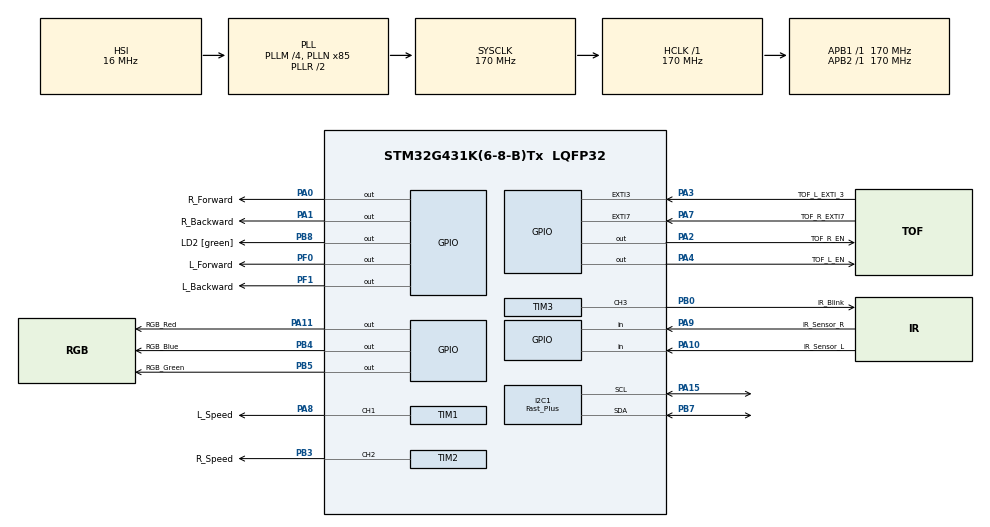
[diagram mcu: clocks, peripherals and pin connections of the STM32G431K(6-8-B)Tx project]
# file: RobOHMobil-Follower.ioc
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I2C1.I2C_Speed_Mode=I2C_Fast_Plus
I2C1.Timing=0x4052060F
Mcu.Family=STM32G4
Mcu.Name=STM32G431K(6-8-B)Tx
Mcu.Package=LQFP32
NVIC.EXTI3_IRQn=true\:0\:0\:false\:false\:true\:true\:true\:true
NVIC.EXTI9_5_IRQn=true\:0\:0\:false\:false\:true\:true\:true\:true
NVIC.PriorityGroup=NVIC_PRIORITYGROUP_4
PA0.GPIO_Label=R_Forward 
PA0.Signal=GPIO_Output
PA1.GPIO_Label=R_Backward 
PA1.Signal=GPIO_Output
PA10.GPIO_Label=IR_Sensor_L
PA10.Signal=GPIO_Input
PA11.GPIO_Label=RGB_Red
PA11.Signal=GPIO_Output
PA15.GPIO_Pu=GPIO_PULLUP
PA15.Mode=I2C
PA15.Signal=I2C1_SCL
PA2.GPIO_Label=TOF_R_EN 
PA2.Signal=GPIO_Output
PA3.GPIO_Label=TOF_L_EXTI_3
PA3.Signal=GPXTI3
PA4.GPIO_Label=TOF_L_EN 
PA4.Signal=GPIO_Output
PA7.GPIO_Label=TOF_R_EXTI7
PA7.Signal=GPXTI7
PA8.GPIO_Label=L_Speed 
PA8.Signal=S_TIM1_CH1
PA9.GPIO_Label=IR_Sensor_R 
PA9.Signal=GPIO_Input
PB0.GPIO_Label=IR_Blink
PB0.Signal=S_TIM3_CH3
PB3.GPIO_Label=R_Speed 
PB3.Signal=S_TIM2_CH2
PB4.GPIO_Label=RGB_Blue
PB4.Signal=GPIO_Output
PB5.GPIO_Label=RGB_Green 
PB5.Signal=GPIO_Output
PB7.GPIO_FM7=SYSCFG_FASTMODEPLUS_PB7
PB7.GPIO_Pu=GPIO_PULLUP
PB7.Mode=I2C
PB7.Signal=I2C1_SDA
PB8-BOOT0.GPIO_Label=LD2 [green]
PB8-BOOT0.Signal=GPIO_Output
PF0-OSC_IN.GPIO_Label=L_Forward 
PF0-OSC_IN.Signal=GPIO_Output
PF1-OSC_OUT.GPIO_Label=L_Backward 
PF1-OSC_OUT.Signal=GPIO_Output
ProjectManager.HeapSize=0x200
ProjectManager.StackSize=0x400
ProjectManager.TargetToolchain=STM32CubeIDE
RCC.ADC12Freq_Value=170000000
RCC.AHBFreq_Value=170000000
RCC.APB1Freq_Value=170000000
RCC.APB1TimFreq_Value=170000000
RCC.APB2Freq_Value=170000000
RCC.APB2TimFreq_Value=170000000
RCC.CortexFreq_Value=170000000
RCC.EXTERNAL_CLOCK_VALUE=12288000
RCC.HCLKFreq_Value=170000000
RCC.HSE_VALUE=8000000
RCC.HSI48_VALUE=48000000
RCC.HSI_VALUE=16000000
RCC.LSE_VALUE=32768
RCC.PLLM=RCC_PLLM_DIV4
RCC.PLLN=85
RCC.SYSCLKFreq_VALUE=170000000
RCC.SYSCLKSource=RCC_SYSCLKSOURCE_PLLCLK
RCC.USBFreq_Value=170000000
RCC.VCOOutputFreq_Value=340000000
SH.S_TIM1_CH1.0=TIM1_CH1,PWM Generation1 CH1
SH.S_TIM2_CH2.0=TIM2_CH2,PWM Generation2 CH2
SH.S_TIM3_CH3.0=TIM3_CH3,PWM Generation3 CH3
TIM1.AutoReloadPreload=TIM_AUTORELOAD_PRELOAD_ENABLE
TIM1.Channel-PWM\ Generation1\ CH1=TIM_CHANNEL_1
TIM1.PeriodNoDither=10000
TIM2.AutoReloadPreload=TIM_AUTORELOAD_PRELOAD_ENABLE
TIM2.Channel-PWM\ Generation2\ CH2=TIM_CHANNEL_2
TIM2.PeriodNoDither=10000
TIM3.Channel-PWM\ Generation3\ CH3=TIM_CHANNEL_3
TIM3.PeriodNoDither=4473
TIM3.PulseNoDither_3=2237
VP_SYS_VS_DBSignals.Mode=DisableDeadBatterySignals
VP_TIM1_VS_ClockSourceINT.Mode=Internal
VP_TIM2_VS_ClockSourceINT.Mode=Internal
board=NUCLEO-G431KB

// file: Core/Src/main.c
/* USER CODE BEGIN Header */
/**
  ******************************************************************************
  * @file           : main.c
  * @brief          : Main program body
  ******************************************************************************
  * @attention
  *
  * Copyright (c) 2025 STMicroelectronics.
  * All rights reserved.
  *
  * This software is licensed under terms that can be found in the LICENSE file
  * in the root directory of this software component.
  * If no LICENSE file comes with this software, it is provided AS-IS.
  *
  ******************************************************************************
  */
/* USER CODE END Header */
#include "main.h"

/* USER CODE BEGIN Includes */
#include "VL53L4CD_api.h"

/* USER CODE END Includes */

/* USER CODE BEGIN PD */
#define CLAMP(x, min, max) ((x) < (min) ? (min) : ((x) > (max) ? (max) : (x)))
/* USER CODE END PD */

I2C_HandleTypeDef hi2c1;

TIM_HandleTypeDef htim1;
TIM_HandleTypeDef htim2;
TIM_HandleTypeDef htim3;

/* USER CODE BEGIN PV */
int IR_Sensor_R;						// Rechter IR sieht IR-Beacon
int IR_Sensor_L;						// Linker IR sieht IR-Beacon

// TOF Sensor init Variablen
Dev_t TOF_R   = 0x54;   	// Neue Adresse für R
Dev_t TOF_L   = 0x58;  		// Neue Adresse für L

int16_t CalibrateOffset_R;
int16_t CalibrateOffset_L;
int16_t CalibratedOffset_R;
int16_t CalibratedOffset_L;

//TOF sensor Daten
VL53L4CD_ResultsData_t result_R;
VL53L4CD_ResultsData_t result_L;
int16_t Range_R;
int16_t Range_L;

int TOF_R_Valid = 0;
int TOF_L_Valid = 0;
int TOF_R_Data_Old = 0;
int TOF_L_Data_Old = 0;
int TOF_R_Error_Count = 0;
int TOF_L_Error_Count = 0;

//Drive Follow Variablen
int16_t R_Speed = 0;
int16_t L_Speed = 0;
int16_t Range_Reference = 100;
static int integral = 0;
static int IR_lost_counter = 0;
static int folgen_aktiv = 0;

/* USER CODE END PV */

void SystemClock_Config(void);
static void MX_GPIO_Init(void);
static void MX_I2C1_Init(void);
static void MX_TIM3_Init(void);
static void MX_TIM1_Init(void);
static void MX_TIM2_Init(void);
/* USER CODE BEGIN PFP */
//INIT
void Custom_GPIO_Init();
static void VL53L4CD_Init(void);

//READ
static void Read_TOF(void);
static int Read_IR_Sensor(void);

//WRITE
static void Drive_Follow(void);
static void Drive_Turn_Right(void);
static void Drive_Turn_Left(void);
static void Drive_Stop(void);
static void Set_Speed_L(int speed);
static void Set_Speed_R(int speed);
static void Set_RGB(int R, int G, int B);

//CALCULATE
int calc_speed_to_pwm(int s);
static int Check_Valid_Range(void);

//TEST
void VL53L4CD_I2C_Test(void);
/* USER CODE END PFP */

int main(void)
{

  /* MCU Configuration--------------------------------------------------------*/

  /* Reset of all peripherals, Initializes the Flash interface and the Systick. */
  HAL_Init();

  /* Configure the system clock */
  SystemClock_Config();

  /* Initialize all configured peripherals */
  MX_GPIO_Init();
  MX_I2C1_Init();
  MX_TIM3_Init();
  MX_TIM1_Init();
  MX_TIM2_Init();
  /* USER CODE BEGIN 2 */

  VL53L4CD_Init();
  HAL_TIM_PWM_Start(&htim1, TIM_CHANNEL_1);
  HAL_TIM_PWM_Start(&htim2, TIM_CHANNEL_2);
  HAL_TIM_PWM_Start(&htim3, TIM_CHANNEL_3);

  /* USER CODE END 2 */

  /* Infinite loop */
  /* USER CODE BEGIN WHILE */
  while (1)
  {

	  Read_TOF();
	  Check_Valid_Range();

	  if (Read_IR_Sensor() || folgen_aktiv) {		// Wenn Beide erkennen, fahren

		  integral = 0;
		  L_Speed = 0;
		  R_Speed = 0;
		  folgen_aktiv = 1;
		  Drive_Stop();

		  while(folgen_aktiv) {

 			  Read_TOF();
 			  Read_IR_Sensor();
 			  Drive_Follow();
 			  if(!IR_Sensor_L && !IR_Sensor_R)
 				  IR_lost_counter++;
 			  else
 				  IR_lost_counter = 0;

 			  if(IR_lost_counter > 3)				//Folgen Aktiv existiert nur um kurze Fehlsignale rauszufiltern
 				  folgen_aktiv = 0;
		  }

	  } else if (IR_Sensor_L) {
		  // Links drehen
		  Drive_Turn_Left();
		  Set_RGB(0, 1, 1); 		// Cyan für Teil IR erkennung
	  } else if (IR_Sensor_R) {
		  // Rechts drehen
		  Drive_Turn_Right();
		  Set_RGB(0, 1, 1); 		// Cyan für Teil IR erkennung
	  } else {
		  // Rechts Drehen + Blau  -> Suchen
		  Drive_Turn_Right();
		  Set_RGB(0, 0, 1);			// Blaue LED => Sucht nach IR signal
	  }

    /* USER CODE END WHILE */

  }
}

void SystemClock_Config(void)
{
  RCC_OscInitTypeDef RCC_OscInitStruct = {0};
  RCC_ClkInitTypeDef RCC_ClkInitStruct = {0};

  /** Configure the main internal regulator output voltage
  */
  HAL_PWREx_ControlVoltageScaling(PWR_REGULATOR_VOLTAGE_SCALE1_BOOST);

  /** Initializes the RCC Oscillators according to the specified parameters
  * in the RCC_OscInitTypeDef structure.
  */
  RCC_OscInitStruct.OscillatorType = RCC_OSCILLATORTYPE_HSI;
  RCC_OscInitStruct.HSIState = RCC_HSI_ON;
  RCC_OscInitStruct.HSICalibrationValue = RCC_HSICALIBRATION_DEFAULT;
  RCC_OscInitStruct.PLL.PLLState = RCC_PLL_ON;
  RCC_OscInitStruct.PLL.PLLSource = RCC_PLLSOURCE_HSI;
  RCC_OscInitStruct.PLL.PLLM = RCC_PLLM_DIV4;
  RCC_OscInitStruct.PLL.PLLN = 85;
  RCC_OscInitStruct.PLL.PLLP = RCC_PLLP_DIV2;
  RCC_OscInitStruct.PLL.PLLQ = RCC_PLLQ_DIV2;
  RCC_OscInitStruct.PLL.PLLR = RCC_PLLR_DIV2;
  if (HAL_RCC_OscConfig(&RCC_OscInitStruct) != HAL_OK)
  {
    Error_Handler();
  }

  /** Initializes the CPU, AHB and APB buses clocks
  */
  RCC_ClkInitStruct.ClockType = RCC_CLOCKTYPE_HCLK|RCC_CLOCKTYPE_SYSCLK
                              |RCC_CLOCKTYPE_PCLK1|RCC_CLOCKTYPE_PCLK2;
  RCC_ClkInitStruct.SYSCLKSource = RCC_SYSCLKSOURCE_PLLCLK;
  RCC_ClkInitStruct.AHBCLKDivider = RCC_SYSCLK_DIV1;
  RCC_ClkInitStruct.APB1CLKDivider = RCC_HCLK_DIV1;
  RCC_ClkInitStruct.APB2CLKDivider = RCC_HCLK_DIV1;

  if (HAL_RCC_ClockConfig(&RCC_ClkInitStruct, FLASH_LATENCY_4) != HAL_OK)
  {
    Error_Handler();
  }
}

static void MX_I2C1_Init(void)
{

  hi2c1.Instance = I2C1;
  hi2c1.Init.Timing = 0x4052060F;
  hi2c1.Init.OwnAddress1 = 0;
  hi2c1.Init.AddressingMode = I2C_ADDRESSINGMODE_7BIT;
  hi2c1.Init.DualAddressMode = I2C_DUALADDRESS_DISABLE;
  hi2c1.Init.OwnAddress2 = 0;
  hi2c1.Init.OwnAddress2Masks = I2C_OA2_NOMASK;
  hi2c1.Init.GeneralCallMode = I2C_GENERALCALL_DISABLE;
  hi2c1.Init.NoStretchMode = I2C_NOSTRETCH_DISABLE;
  if (HAL_I2C_Init(&hi2c1) != HAL_OK)
  {
    Error_Handler();
  }

  /** Configure Analogue filter
  */
  if (HAL_I2CEx_ConfigAnalogFilter(&hi2c1, I2C_ANALOGFILTER_ENABLE) != HAL_OK)
  {
    Error_Handler();
  }

  /** Configure Digital filter
  */
  if (HAL_I2CEx_ConfigDigitalFilter(&hi2c1, 0) != HAL_OK)
  {
    Error_Handler();
  }

  /** I2C Fast mode Plus enable
  */
  HAL_I2CEx_EnableFastModePlus(I2C_FASTMODEPLUS_I2C1);

}

static void MX_TIM1_Init(void)
{

  TIM_ClockConfigTypeDef sClockSourceConfig = {0};
  TIM_MasterConfigTypeDef sMasterConfig = {0};
  TIM_OC_InitTypeDef sConfigOC = {0};
  TIM_BreakDeadTimeConfigTypeDef sBreakDeadTimeConfig = {0};

  /* USER CODE BEGIN TIM1_Init 1 */
  	  	  	  	  	  	  	  	  	  	  	  	  //ARR 10000 -> ca. 17kHz Freq + guter wert für CCR =>> CCR = 0 -> no speed; CCR = 10000 -> max speed
  /* USER CODE END TIM1_Init 1 */
  htim1.Instance = TIM1;
  htim1.Init.Prescaler = 0;
  htim1.Init.CounterMode = TIM_COUNTERMODE_UP;
  htim1.Init.Period = 10000;
  htim1.Init.ClockDivision = TIM_CLOCKDIVISION_DIV1;
  htim1.Init.RepetitionCounter = 0;
  htim1.Init.AutoReloadPreload = TIM_AUTORELOAD_PRELOAD_ENABLE;
  if (HAL_TIM_Base_Init(&htim1) != HAL_OK)
  {
    Error_Handler();
  }
  sClockSourceConfig.ClockSource = TIM_CLOCKSOURCE_INTERNAL;
  if (HAL_TIM_ConfigClockSource(&htim1, &sClockSourceConfig) != HAL_OK)
  {
    Error_Handler();
  }
  if (HAL_TIM_PWM_Init(&htim1) != HAL_OK)
  {
    Error_Handler();
  }
  sMasterConfig.MasterOutputTrigger = TIM_TRGO_RESET;
  sMasterConfig.MasterOutputTrigger2 = TIM_TRGO2_RESET;
  sMasterConfig.MasterSlaveMode = TIM_MASTERSLAVEMODE_DISABLE;
  if (HAL_TIMEx_MasterConfigSynchronization(&htim1, &sMasterConfig) != HAL_OK)
  {
    Error_Handler();
  }
  sConfigOC.OCMode = TIM_OCMODE_PWM1;
  sConfigOC.Pulse = 0;
  sConfigOC.OCPolarity = TIM_OCPOLARITY_HIGH;
  sConfigOC.OCNPolarity = TIM_OCNPOLARITY_HIGH;
  sConfigOC.OCFastMode = TIM_OCFAST_DISABLE;
  sConfigOC.OCIdleState = TIM_OCIDLESTATE_RESET;
  sConfigOC.OCNIdleState = TIM_OCNIDLESTATE_RESET;
  if (HAL_TIM_PWM_ConfigChannel(&htim1, &sConfigOC, TIM_CHANNEL_1) != HAL_OK)
  {
    Error_Handler();
  }
  sBreakDeadTimeConfig.OffStateRunMode = TIM_OSSR_DISABLE;
  sBreakDeadTimeConfig.OffStateIDLEMode = TIM_OSSI_DISABLE;
  sBreakDeadTimeConfig.LockLevel = TIM_LOCKLEVEL_OFF;
  sBreakDeadTimeConfig.DeadTime = 0;
  sBreakDeadTimeConfig.BreakState = TIM_BREAK_DISABLE;
  sBreakDeadTimeConfig.BreakPolarity = TIM_BREAKPOLARITY_HIGH;
  sBreakDeadTimeConfig.BreakFilter = 0;
  sBreakDeadTimeConfig.BreakAFMode = TIM_BREAK_AFMODE_INPUT;
  sBreakDeadTimeConfig.Break2State = TIM_BREAK2_DISABLE;
  sBreakDeadTimeConfig.Break2Polarity = TIM_BREAK2POLARITY_HIGH;
  sBreakDeadTimeConfig.Break2Filter = 0;
  sBreakDeadTimeConfig.Break2AFMode = TIM_BREAK_AFMODE_INPUT;
  sBreakDeadTimeConfig.AutomaticOutput = TIM_AUTOMATICOUTPUT_DISABLE;
  if (HAL_TIMEx_ConfigBreakDeadTime(&htim1, &sBreakDeadTimeConfig) != HAL_OK)
  {
    Error_Handler();
  }
  HAL_TIM_MspPostInit(&htim1);

}

static void MX_TIM2_Init(void)
{

  TIM_ClockConfigTypeDef sClockSourceConfig = {0};
  TIM_MasterConfigTypeDef sMasterConfig = {0};
  TIM_OC_InitTypeDef sConfigOC = {0};

  /* USER CODE BEGIN TIM2_Init 1 */
  	  	  	  	  	  	  	  	  	  	  	  	  //ARR 10000 -> ca. 17kHz Freq + guter wert für CCR =>> CCR = 0 -> no speed; CCR = 10000 -> max speed
  /* USER CODE END TIM2_Init 1 */
  htim2.Instance = TIM2;
  htim2.Init.Prescaler = 0;
  htim2.Init.CounterMode = TIM_COUNTERMODE_UP;
  htim2.Init.Period = 10000;
  htim2.Init.ClockDivision = TIM_CLOCKDIVISION_DIV1;
  htim2.Init.AutoReloadPreload = TIM_AUTORELOAD_PRELOAD_ENABLE;
  if (HAL_TIM_Base_Init(&htim2) != HAL_OK)
  {
    Error_Handler();
  }
  sClockSourceConfig.ClockSource = TIM_CLOCKSOURCE_INTERNAL;
  if (HAL_TIM_ConfigClockSource(&htim2, &sClockSourceConfig) != HAL_OK)
  {
    Error_Handler();
  }
  if (HAL_TIM_PWM_Init(&htim2) != HAL_OK)
  {
    Error_Handler();
  }
  sMasterConfig.MasterOutputTrigger = TIM_TRGO_RESET;
  sMasterConfig.MasterSlaveMode = TIM_MASTERSLAVEMODE_DISABLE;
  if (HAL_TIMEx_MasterConfigSynchronization(&htim2, &sMasterConfig) != HAL_OK)
  {
    Error_Handler();
  }
  sConfigOC.OCMode = TIM_OCMODE_PWM1;
  sConfigOC.Pulse = 0;
  sConfigOC.OCPolarity = TIM_OCPOLARITY_HIGH;
  sConfigOC.OCFastMode = TIM_OCFAST_DISABLE;
  if (HAL_TIM_PWM_ConfigChannel(&htim2, &sConfigOC, TIM_CHANNEL_2) != HAL_OK)
  {
    Error_Handler();
  }
  HAL_TIM_MspPostInit(&htim2);

}

static void MX_TIM3_Init(void)
{

  TIM_MasterConfigTypeDef sMasterConfig = {0};
  TIM_OC_InitTypeDef sConfigOC = {0};

  htim3.Instance = TIM3;
  htim3.Init.Prescaler = 0;
  htim3.Init.CounterMode = TIM_COUNTERMODE_UP;
  htim3.Init.Period = 4473;
  htim3.Init.ClockDivision = TIM_CLOCKDIVISION_DIV1;
  htim3.Init.AutoReloadPreload = TIM_AUTORELOAD_PRELOAD_DISABLE;
  if (HAL_TIM_PWM_Init(&htim3) != HAL_OK)
  {
    Error_Handler();
  }
  sMasterConfig.MasterOutputTrigger = TIM_TRGO_RESET;
  sMasterConfig.MasterSlaveMode = TIM_MASTERSLAVEMODE_DISABLE;
  if (HAL_TIMEx_MasterConfigSynchronization(&htim3, &sMasterConfig) != HAL_OK)
  {
    Error_Handler();
  }
  sConfigOC.OCMode = TIM_OCMODE_PWM1;
  sConfigOC.Pulse = 2237;
  sConfigOC.OCPolarity = TIM_OCPOLARITY_HIGH;
  sConfigOC.OCFastMode = TIM_OCFAST_DISABLE;
  if (HAL_TIM_PWM_ConfigChannel(&htim3, &sConfigOC, TIM_CHANNEL_3) != HAL_OK)
  {
    Error_Handler();
  }
  HAL_TIM_MspPostInit(&htim3);

}

static void MX_GPIO_Init(void)
{
  GPIO_InitTypeDef GPIO_InitStruct = {0};

  /* GPIO Ports Clock Enable */
  __HAL_RCC_GPIOF_CLK_ENABLE();
  __HAL_RCC_GPIOA_CLK_ENABLE();
  __HAL_RCC_GPIOB_CLK_ENABLE();

  /*Configure GPIO pin Output Level */
  HAL_GPIO_WritePin(GPIOF, L_Forward_Pin|L_Backward_Pin, GPIO_PIN_RESET);

  /*Configure GPIO pin Output Level */
  HAL_GPIO_WritePin(GPIOA, R_Forward_Pin|R_Backward_Pin|TOF_R_EN_Pin|TOF_L_EN_Pin
                          |RGB_Red_Pin, GPIO_PIN_RESET);

  /*Configure GPIO pin Output Level */
  HAL_GPIO_WritePin(GPIOB, RGB_Blue_Pin|RGB_Green_Pin|LD2_Pin, GPIO_PIN_RESET);

  /*Configure GPIO pins : L_Forward_Pin L_Backward_Pin */
  GPIO_InitStruct.Pin = L_Forward_Pin|L_Backward_Pin;
  GPIO_InitStruct.Mode = GPIO_MODE_OUTPUT_PP;
  GPIO_InitStruct.Pull = GPIO_NOPULL;
  GPIO_InitStruct.Speed = GPIO_SPEED_FREQ_LOW;
  HAL_GPIO_Init(GPIOF, &GPIO_InitStruct);

  /*Configure GPIO pins : R_Forward_Pin R_Backward_Pin TOF_R_EN_Pin TOF_L_EN_Pin
                           RGB_Red_Pin */
  GPIO_InitStruct.Pin = R_Forward_Pin|R_Backward_Pin|TOF_R_EN_Pin|TOF_L_EN_Pin
                          |RGB_Red_Pin;
  GPIO_InitStruct.Mode = GPIO_MODE_OUTPUT_PP;
  GPIO_InitStruct.Pull = GPIO_NOPULL;
  GPIO_InitStruct.Speed = GPIO_SPEED_FREQ_LOW;
  HAL_GPIO_Init(GPIOA, &GPIO_InitStruct);

  /*Configure GPIO pins : TOF_L_EXTI_3_Pin TOF_R_EXTI7_Pin */
  GPIO_InitStruct.Pin = TOF_L_EXTI_3_Pin|TOF_R_EXTI7_Pin;
  GPIO_InitStruct.Mode = GPIO_MODE_IT_RISING;
  GPIO_InitStruct.Pull = GPIO_NOPULL;
  HAL_GPIO_Init(GPIOA, &GPIO_InitStruct);

  /*Configure GPIO pins : IR_Sensor_R_Pin IR_Sensor_L_Pin */
  GPIO_InitStruct.Pin = IR_Sensor_R_Pin|IR_Sensor_L_Pin;
  GPIO_InitStruct.Mode = GPIO_MODE_INPUT;
  GPIO_InitStruct.Pull = GPIO_NOPULL;
  HAL_GPIO_Init(GPIOA, &GPIO_InitStruct);

  /*Configure GPIO pins : RGB_Blue_Pin RGB_Green_Pin LD2_Pin */
  GPIO_InitStruct.Pin = RGB_Blue_Pin|RGB_Green_Pin|LD2_Pin;
  GPIO_InitStruct.Mode = GPIO_MODE_OUTPUT_PP;
  GPIO_InitStruct.Pull = GPIO_NOPULL;
  GPIO_InitStruct.Speed = GPIO_SPEED_FREQ_LOW;
  HAL_GPIO_Init(GPIOB, &GPIO_InitStruct);

  /* EXTI interrupt init*/
  HAL_NVIC_SetPriority(EXTI3_IRQn, 0, 0);
  HAL_NVIC_EnableIRQ(EXTI3_IRQn);

  HAL_NVIC_SetPriority(EXTI9_5_IRQn, 0, 0);
  HAL_NVIC_EnableIRQ(EXTI9_5_IRQn);

}

/* USER CODE BEGIN 4 */

//------------------------------------------------------------------------------------
//		USER INIT
//------------------------------------------------------------------------------------

void Custom_GPIO_Init()
{
	//Fehlerbehebung
	GPIOA->MODER &= ~(0x03 << 4); 	//Reset GPIOA_MODE2
	GPIOA->MODER |= (0x01 << 4); 	//Set GPIOA_MODE2
	GPIOA->MODER &= ~(0x03 << 8); 	//Reset GPIOA_MODE4
	GPIOA->MODER |= (0x01 << 8);	//Set GPIOA_MODE4 to output mode
}

static void VL53L4CD_Init(void) {

	HAL_GPIO_WritePin(GPIOA, TOF_R_EN_Pin | TOF_L_EN_Pin, GPIO_PIN_RESET);
	HAL_Delay(10);

	Dev_t default_addr = 0x52;   	// Default

	// INIT TOF_R
	HAL_GPIO_WritePin(GPIOA, TOF_R_EN_Pin, GPIO_PIN_SET);
	HAL_Delay(10);

	if (VL53L4CD_SetI2CAddress(default_addr, TOF_R) != 0) {
		Error_Handler();
	}
	HAL_Delay(10);

	if (VL53L4CD_SensorInit(TOF_R) != 0) {
        Error_Handler();
    }

	// INIT TOF_L
	HAL_Delay(10);
	HAL_GPIO_WritePin(GPIOA, TOF_L_EN_Pin, GPIO_PIN_SET);

	HAL_Delay(10);

	if (VL53L4CD_SetI2CAddress(default_addr, TOF_L) != 0) {
        Error_Handler();
    }
	HAL_Delay(10);

	if (VL53L4CD_SensorInit(TOF_L) != 0) {
        Error_Handler();
    }

	HAL_GPIO_WritePin(GPIOA, TOF_R_EN_Pin, GPIO_PIN_SET);
	HAL_Delay(10);

	//Nur bei Anfangs Kalibrierung

	//Wird nur benötigt wenn neue Sensoren angeschlossen werden
/*
	VL53L4CD_CalibrateOffset(TOF_R, 100, &CalibrateOffset_R, 20);
	VL53L4CD_CalibrateOffset(TOF_L, 100, &CalibrateOffset_L, 20);
	VL53L4CD_GetOffset(TOF_R, &CalibratedOffset_R);
	VL53L4CD_GetOffset(TOF_L, &CalibratedOffset_L);
*/

	VL53L4CD_SetOffset(TOF_R, -10);		// Wert eingeben je nach Sensor, ist beschriftet aus Sensoren und Fahrzeugunterseite
	VL53L4CD_SetOffset(TOF_L, -20);
	VL53L4CD_StartRanging(TOF_R);
	VL53L4CD_StartRanging(TOF_L);
}

//------------------------------------------------------------------------------------
//		USER TEST
//------------------------------------------------------------------------------------

void VL53L4CD_I2C_Test(void)
// Nur für Debug der TOF sensoren benötigt
{
    uint8_t id = 0;
    HAL_StatusTypeDef ret;

    // XSHUT sicher aktivieren
    HAL_GPIO_WritePin(GPIOA, TOF_R_EN_Pin, GPIO_PIN_RESET);
    HAL_GPIO_WritePin(GPIOA, TOF_L_EN_Pin, GPIO_PIN_SET);
    HAL_Delay(10);

    if (VL53L4CD_SetI2CAddress(0x52, TOF_L) != 0) {
            Error_Handler();
        }
    // Lese Model-ID-Register (0x010F)
    ret = HAL_I2C_Mem_Read(&hi2c1,
    					   TOF_L,          // Default-Adresse (0x29 << 1)
                           0x010F,
                           I2C_MEMADD_SIZE_16BIT,
                           &id, 1, 100);

    if (ret == HAL_OK)
    {
        // Sensor antwortet -> I2C OK
        HAL_GPIO_WritePin(GPIOB, LD2_Pin, GPIO_PIN_SET); // z.B. LED an
    }
    else
    {
        // Kein ACK -> Hardware / Adresse / XSHUT / Pull-Ups
        HAL_GPIO_WritePin(GPIOB, LD2_Pin, GPIO_PIN_RESET); // LED aus
        Error_Handler(); // oder Breakpoint setzen
    }
}

//------------------------------------------------------------------------------------
//		USER READ
//------------------------------------------------------------------------------------

static int Read_IR_Sensor(void)
// Liest die IR_Sensoren auf Variablen ein,  returned 1 wenn beide etwas erkennen
// Filtert Kurze Störimpulse Raus,

{

	int Temp_R_1 = !HAL_GPIO_ReadPin(GPIOA, IR_Sensor_R_Pin);
	int Temp_L_1 = !HAL_GPIO_ReadPin(GPIOA, IR_Sensor_L_Pin);

	HAL_Delay(30);

	int Temp_R_2 = !HAL_GPIO_ReadPin(GPIOA, IR_Sensor_R_Pin);
	int Temp_L_2 = !HAL_GPIO_ReadPin(GPIOA, IR_Sensor_L_Pin);

	IR_Sensor_R = Temp_R_2 & Temp_R_1;
	IR_Sensor_L = Temp_L_2 & Temp_L_1;

	return (IR_Sensor_R && IR_Sensor_L);
}

static void Read_TOF(void)
// Liest die TOF-Sensor Daten ein (Polling) Immer beide gleichzeitig
// Filtert dann Ergebnisse Raus (Wenn zu große Distanz oder Fehlercode)
// Trackt wie viele Zyklen lang die Daten nicht aktualisiert wurden
{
	uint8_t dataReady_R = 0;
	uint8_t dataReady_L = 0;

	if (VL53L4CD_CheckForDataReady(TOF_R, &dataReady_R) != 0) {
		Error_Handler();
	}

	if (VL53L4CD_CheckForDataReady(TOF_L, &dataReady_L) != 0) {
		Error_Handler();
	}

	if (dataReady_R && dataReady_L)
	{

		if (VL53L4CD_GetResult(TOF_R, &result_R) != 0) {
			Error_Handler();
		}

		if (VL53L4CD_ClearInterrupt(TOF_R) != 0) {
			Error_Handler();
		}

		if(result_R.range_status == 0) {

			if (result_R.distance_mm < 1000) {

				if(Range_R == 0) {
					Range_R = result_R.distance_mm;
				} else {
					// Filtern durch Verringern von Einfluss neuer Messergebnisse
					Range_R = (Range_R * 3 + result_R.distance_mm) /4;
				}

				TOF_R_Data_Old = 0;			// Merker, wenn Daten nicht erneuert werden
			} else {
				TOF_R_Data_Old++;
			}

			TOF_R_Error_Count = 0;
		} else {
			TOF_R_Error_Count++;
		}

 	 	if (VL53L4CD_GetResult(TOF_L, &result_L) != 0) {
			Error_Handler();
		}

 	 	if (VL53L4CD_ClearInterrupt(TOF_L) != 0) {
			Error_Handler();
		}

 	 	if(result_L.range_status == 0) {
 	 		if (result_L.distance_mm < 1000) {

 	 			if(Range_L == 0) {
 	 				Range_L = result_L.distance_mm;
 	 			} else {
 	 				// Filtern durch Verringern von Einfluss neuer Messergebnisse
 	 				Range_L = (Range_L * 3 + result_L.distance_mm) / 4;
 	 			}

 	 			TOF_L_Data_Old = 0;			// Merker, wenn Daten nicht erneuert werden
 	 		} else {
 	 			TOF_L_Data_Old++;
 	 		}

 	 		TOF_L_Error_Count = 0;
 	 	} else {
 	 		TOF_L_Error_Count++;
 	 	}

 	 	// Neustart der Auslese anforderung
		if (VL53L4CD_StartRanging(TOF_R) != 0) {
			Error_Handler();
		}

		if (VL53L4CD_StartRanging(TOF_L) != 0) {
			Error_Handler();
		}

	}

}

//------------------------------------------------------------------------------------
//		USER WRITE
//------------------------------------------------------------------------------------

static void Drive_Follow(void)
// Hauptlogik, wird ausgeführt sobald die IR sensoren das Fahrzeug gefunden haben
// PI-Regler für die Geschwindigkeit, Turn gibt die Drehung an die das Fahrzeug bei Kurven fährt

{
	float Ki = 0.2;
	float Kp = 3.5;
	float Kt = 5.0;

	int turn = 0;		//Drehung
	int error = 0;		//Unterschied zur Soll-Distanz
	int speed = 0;

	// Wenn beide TOF sensoren erkenne greift die Reguläre Steuerung
	if(Check_Valid_Range()) {
		Set_RGB(0, 1, 0);
		int distance = (Range_L + Range_R) / 2;

		error = distance - Range_Reference;

		integral += error;

		if(integral > 4000) integral = 4000;
		if(integral < -4000) integral = -4000;

		speed = Kp * error + Ki * integral;

		// Feinausrichtung durch ToF
		turn += (Range_R - Range_L) / 2;

		// Maximal Differenz zwischen R und L ist ca. 130mm (Berechnung aus Breite Fahrzeug und Abstand TOF sensoren)
		// ==> Wir lassen maximal 140mm zu (Toleranz Messfehler) um sicherzustellen das der Turn nicht zu groß ist

		turn = CLAMP(turn, -70, 70);

		if(abs(error) < 10) {
			speed = 0;
			integral = 0;
		}

	} else if(TOF_R_Valid) {
		//Wenn nur der Rechte Sensor ein Ergebnis Liefert, nehmen wir zur Distanz und Speed Berechnung nur den Rechten Sensor und drehen konstant nach Rechts
		Set_RGB(1, 1, 0);
		int distance = Range_R;

				error = distance - Range_Reference;

				integral += error;

				if(integral > 4000) integral = 4000;
				if(integral < -4000) integral = -4000;

				speed = Kp * error + Ki * integral;

				turn = -30;

	} else if(TOF_L_Valid){
		//Wenn nur der Linke Sensor ein Ergebnis Liefert, nehmen wir zur Distanz und Speed Berechnung nur den Linken Sensor und drehen konstant nach Links
		Set_RGB(1, 1, 0);
		int distance = Range_L;

				error = distance - Range_Reference;

				integral += error;

				if(integral > 4000) integral = 4000;
				if(integral < -4000) integral = -4000;

				speed = Kp * error + Ki * integral;

				turn = 30;

	} else {
		//Drive Follow wird verlassen wenn beide IR-Sensoren 4 Zyklen lang nichts erkennen
		Set_RGB(1, 1, 0);

		if(IR_Sensor_L && IR_Sensor_R) {
			// beide erkennen → geradeaus
			// nötig wenn Check_Valid_Distance Fehler gibt, weil die Distanz zu groß ist

			speed = 1000;
			integral = 0;

		} else if(IR_Sensor_L && !IR_Sensor_R) {
			// Nachkorrektur wenn kurz nur Linker IR etwas erkennt und TOF nichts erkennt
			turn += 30;   // leicht links

		} else if(IR_Sensor_R && !IR_Sensor_L) {
			// Nachkorrektur wenn kurz nur Rechter IR etwas erkennt und TOF nichts erkennt
			turn += -30;  // leicht rechts

		}
	}

	if(abs(turn) < 5)	//Stabilität, Damit Fahrzeug bei leichten Korrekturen nicht "Zuckt"
		turn = 0;

	int L_Speed = speed - Kt * turn;
	int R_Speed = speed + Kt * turn;

	L_Speed = CLAMP(L_Speed, -4000, 4000);
	R_Speed = CLAMP(R_Speed, -4000, 4000);

	Set_Speed_L(calc_speed_to_pwm(L_Speed));
	Set_Speed_R(calc_speed_to_pwm(R_Speed));

}

static void Drive_Turn_Right(void)
// Langsames Rechts Drehen
{
	Set_Speed_L(6000);		//60% Speed
	Set_Speed_R(-6000);
}

static void Drive_Turn_Left(void)
// Langsames Links Drehen
{
	Set_Speed_L(-6000);		//60% Speed
	Set_Speed_R(6000);
}

static void Drive_Stop(void)
// Stoppen
{
	Set_Speed_L(0);
	Set_Speed_R(0);
}

static void Set_Speed_L(int speed) {
	// Funktion um Motorsteuerung Leserlicher zu machen
	// Steuerung der IN-Pins (Forward/Backward) je nach Richtung des Speeds (pos/neg)
	// Setzen des Speeds in PWM Timer CCR
	if(speed == 0) {

		HAL_GPIO_WritePin(L_Backward_GPIO_Port, L_Backward_Pin, GPIO_PIN_RESET);
		HAL_GPIO_WritePin(L_Forward_GPIO_Port , L_Forward_Pin , GPIO_PIN_RESET);

		TIM1->CCR1 = speed;

	} else if(speed <= 10000 && speed > 0) {

		HAL_GPIO_WritePin(L_Backward_GPIO_Port, L_Backward_Pin, GPIO_PIN_RESET);
		HAL_GPIO_WritePin(L_Forward_GPIO_Port , L_Forward_Pin , GPIO_PIN_SET  );

		TIM1->CCR1 = speed;

	} else if(speed >= -10000 && speed < 0) {

		HAL_GPIO_WritePin(L_Forward_GPIO_Port , L_Forward_Pin , GPIO_PIN_RESET);
		HAL_GPIO_WritePin(L_Backward_GPIO_Port, L_Backward_Pin, GPIO_PIN_SET  );

		TIM1->CCR1 = -speed;

	} else {
		Error_Handler();
	}
}

// Speed 0 - 10000
static void Set_Speed_R(int speed) {
	// Funktion um Motorsteuerung Leserlicher zu machen
	// Steuerung der IN-Pins (Forward/Backward) je nach Richtung des Speeds (pos/neg)
	// Setzen des Speeds in PWM Timer CCR
	if(speed == 0) {

			HAL_GPIO_WritePin(R_Backward_GPIO_Port, R_Backward_Pin, GPIO_PIN_RESET);
			HAL_GPIO_WritePin(R_Forward_GPIO_Port , R_Forward_Pin , GPIO_PIN_RESET);

			TIM2->CCR2 = speed;

		} else if(speed <= 10000 && speed > 0) {

			HAL_GPIO_WritePin(R_Backward_GPIO_Port, R_Backward_Pin, GPIO_PIN_RESET);
			HAL_GPIO_WritePin(R_Forward_GPIO_Port , R_Forward_Pin , GPIO_PIN_SET  );

			TIM2->CCR2 = speed;

		} else if(speed >= -10000 && speed < 0) {

			HAL_GPIO_WritePin(R_Forward_GPIO_Port , R_Forward_Pin , GPIO_PIN_RESET);
			HAL_GPIO_WritePin(R_Backward_GPIO_Port, R_Backward_Pin, GPIO_PIN_SET  );

			TIM2->CCR2 = -speed;

		} else {
			Error_Handler();
		}
}

static void Set_RGB(int R, int G, int B) {
	// Simple LED steuerung, überschreibt immer alle vorherigen LED eingaben automatisch
	// Eingabe 1 um jeweilige LED an zumachen
	// LEDs sind Low Aktiv -> 1 = Reset = Pin LOW

	if(R >= 1) {
		HAL_GPIO_WritePin(RGB_Red_GPIO_Port, RGB_Red_Pin, GPIO_PIN_RESET);
	} else {
		HAL_GPIO_WritePin(RGB_Red_GPIO_Port, RGB_Red_Pin, GPIO_PIN_SET);
	}

	if(G >= 1) {
		HAL_GPIO_WritePin(RGB_Green_GPIO_Port, RGB_Green_Pin, GPIO_PIN_RESET);
	} else {
		HAL_GPIO_WritePin(RGB_Green_GPIO_Port, RGB_Green_Pin, GPIO_PIN_SET);
	}

	if(B >= 1) {
		HAL_GPIO_WritePin(RGB_Blue_GPIO_Port, RGB_Blue_Pin, GPIO_PIN_RESET);
	} else {
		HAL_GPIO_WritePin(RGB_Blue_GPIO_Port, RGB_Blue_Pin, GPIO_PIN_SET);
	}
}

//------------------------------------------------------------------------------------
//		USER CALCULATE
//------------------------------------------------------------------------------------

int calc_speed_to_pwm(int s) {
	// Die Motoren / Treiber sind bei niedrigen PWMs (ca. <60%) zu schwach um das Fahrzeug
	// zu bewegen, deshalb regeln wir immmer zwischen 60% - 100%, um die Berechnung einfach
	// zu halten Berechnen wir in Drive_Follow nur Speed -4000 bis 4000 und skalieren ihn dann auf
	// [-10000; -6000] und [6000; 10000]
	if(s > 5)
		return s + 6000;
	else if(s < -5)
		return s - 6000;
	else
		return 0;
}

static int Check_Valid_Range(void) {
	// Prüft aktuelle Distanz angaben und Fehler von Read_TOF
	// Return 1 nur wenn beide Range Daten stimmen
	// Schreibt auch auf eigene Variablen welche Daten genau stimmen/nicht stimmen
	if(
		   Range_R <= 10
		|| Range_R > 300
		|| TOF_R_Data_Old > 2
		|| TOF_R_Error_Count > 2

	) {
		TOF_R_Valid = 0;
		Range_R = 0;
	} else {
		TOF_R_Valid = 1;
	}

	if(
		   Range_L <= 10
		|| Range_L > 300
		|| TOF_L_Data_Old > 2
		|| TOF_L_Error_Count > 2
	) {
		TOF_L_Valid = 0;
		Range_L = 0;
	} else {
		TOF_L_Valid = 1;
	}

	if(TOF_R_Valid && TOF_L_Valid) {
		return 1;
	} else {
		return 0;
	}
}

/* USER CODE END 4 */

void Error_Handler(void)
{
  /* USER CODE BEGIN Error_Handler_Debug */
  /* User can add his own implementation to report the HAL error return state */
	Set_RGB(1, 0, 0); 		// Rot => Fehler
	__disable_irq();
	Drive_Stop();
	while (1)
	{

	}
  /* USER CODE END Error_Handler_Debug */
}
